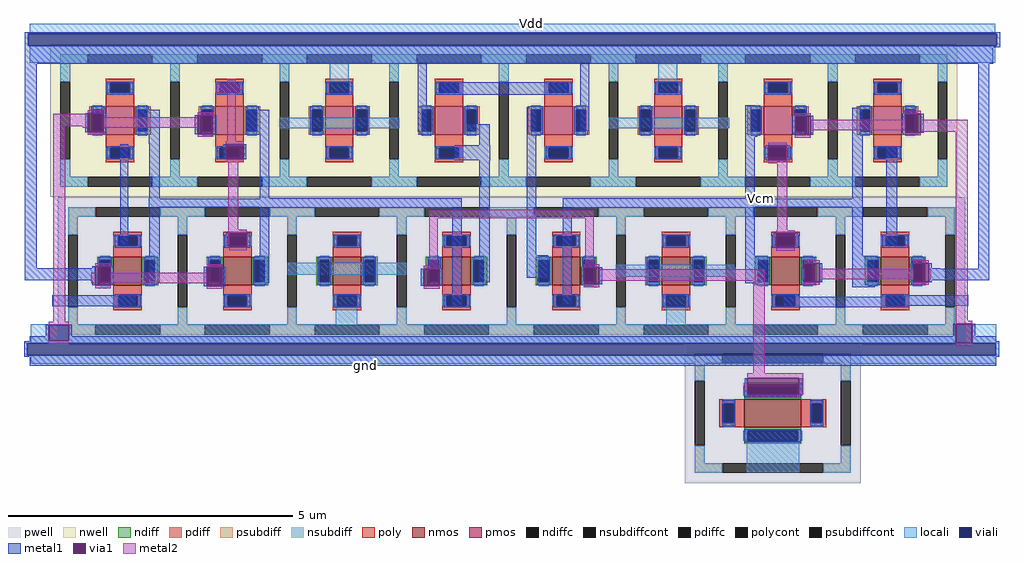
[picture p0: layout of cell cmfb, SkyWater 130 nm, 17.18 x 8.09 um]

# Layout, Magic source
magic
tech sky130A
magscale 1 2
<< pwell >>
rect 644 1146 681 1291
rect 1630 1192 1660 1286
<< locali >>
rect 223 2021 3623 2056
rect 223 1919 3623 1979
rect 1279 1810 1347 1919
rect 2435 1812 2503 1919
rect 1101 1688 1524 1725
rect 2262 1689 2685 1726
rect 1132 1172 1549 1215
rect 2287 1199 2706 1208
rect 2287 1166 2707 1199
rect 1301 998 1376 1096
rect 2464 998 2532 1100
rect 226 932 3625 998
rect 3624 890 3625 932
rect 226 860 3625 890
rect 2748 478 2932 628
<< viali >>
rect 218 1979 3627 2021
rect 215 890 3624 932
<< metal1 >>
rect 206 2021 3639 2027
rect 206 1979 218 2021
rect 3627 1979 3639 2021
rect 206 1973 3639 1979
rect 206 1916 3616 1973
rect 206 1195 248 1916
rect 418 1675 428 1742
rect 483 1675 493 1742
rect 604 1716 681 1753
rect 604 1708 641 1716
rect 642 1708 681 1716
rect 604 1671 681 1708
rect 642 1636 681 1671
rect 804 1668 814 1735
rect 869 1668 879 1735
rect 988 1666 1066 1753
rect 1589 1676 1621 1916
rect 1670 1807 2115 1850
rect 541 1279 570 1632
rect 644 1441 681 1636
rect 904 1580 914 1632
rect 976 1580 986 1632
rect 1033 1442 1066 1666
rect 1759 1665 1842 1702
rect 1805 1629 1842 1665
rect 1719 1576 1844 1629
rect 1033 1441 1744 1442
rect 642 1411 1744 1441
rect 444 1195 454 1203
rect 206 1153 454 1195
rect 444 1136 454 1153
rect 509 1136 519 1203
rect 644 1146 681 1411
rect 1033 1409 1744 1411
rect 915 1269 925 1321
rect 987 1269 997 1321
rect 836 1133 846 1200
rect 901 1133 911 1200
rect 1033 1145 1066 1409
rect 1600 1134 1610 1194
rect 1666 1134 1676 1194
rect 302 1061 597 1100
rect 1711 1064 1744 1409
rect 1805 1146 1842 1576
rect 1973 1241 2007 1762
rect 2161 1679 2193 1916
rect 2743 1759 2776 1770
rect 2743 1659 2784 1759
rect 2907 1665 2917 1732
rect 2972 1665 2982 1732
rect 2743 1442 2776 1659
rect 2814 1576 2824 1628
rect 2889 1576 2899 1628
rect 2099 1440 2776 1442
rect 3118 1440 3155 1761
rect 3295 1673 3305 1740
rect 3360 1673 3370 1740
rect 2099 1410 3155 1440
rect 2099 1409 2776 1410
rect 1973 1162 2046 1241
rect 2099 1068 2132 1409
rect 2743 1240 2776 1409
rect 2842 1268 2852 1320
rect 2917 1268 2927 1320
rect 2164 1139 2174 1199
rect 2229 1139 2239 1199
rect 2743 1143 2818 1240
rect 3118 1239 3155 1410
rect 3238 1273 3278 1621
rect 2939 1147 2949 1214
rect 3004 1147 3014 1214
rect 3118 1128 3198 1239
rect 3324 1147 3334 1214
rect 3389 1195 3399 1214
rect 3389 1193 3429 1195
rect 3562 1193 3602 1916
rect 3389 1154 3602 1193
rect 3389 1153 3528 1154
rect 3389 1147 3399 1153
rect 3240 1096 3528 1101
rect 2878 1064 3528 1096
rect 2878 1058 3311 1064
rect 280 956 290 997
rect 223 940 290 956
rect 361 956 371 997
rect 3474 956 3484 1001
rect 361 940 3484 956
rect 223 938 3484 940
rect 203 932 3484 938
rect 3541 956 3551 1001
rect 3541 938 3626 956
rect 3541 932 3636 938
rect 203 890 215 932
rect 3624 890 3636 932
rect 203 884 3636 890
rect 223 853 3626 884
rect 2740 750 2750 808
rect 2932 750 2942 808
<< via1 >>
rect 428 1675 483 1742
rect 814 1668 869 1735
rect 914 1580 976 1632
rect 454 1136 509 1203
rect 925 1269 987 1321
rect 846 1133 901 1200
rect 1610 1134 1666 1194
rect 2917 1665 2972 1732
rect 2824 1576 2889 1628
rect 3305 1673 3360 1740
rect 2852 1268 2917 1320
rect 2174 1139 2229 1199
rect 2949 1147 3004 1214
rect 3334 1147 3389 1214
rect 290 940 361 997
rect 3484 932 3541 1001
rect 2750 750 2932 808
<< metal2 >>
rect 919 1845 949 1860
rect 880 1814 965 1845
rect 428 1742 483 1752
rect 385 1739 428 1740
rect 306 1696 428 1739
rect 306 1007 349 1696
rect 385 1695 428 1696
rect 409 1691 428 1695
rect 814 1735 869 1745
rect 483 1691 814 1727
rect 428 1665 483 1675
rect 814 1658 869 1668
rect 919 1642 949 1814
rect 2917 1732 2972 1742
rect 3305 1740 3360 1750
rect 2972 1682 3305 1718
rect 2917 1655 2972 1665
rect 3360 1676 3526 1718
rect 3305 1663 3360 1673
rect 914 1632 976 1642
rect 914 1570 976 1580
rect 2824 1630 2889 1638
rect 2824 1628 2890 1630
rect 2889 1576 2890 1628
rect 922 1331 957 1570
rect 2824 1566 2890 1576
rect 1630 1371 2209 1401
rect 922 1321 987 1331
rect 922 1278 925 1321
rect 925 1259 987 1269
rect 454 1203 509 1213
rect 439 1143 454 1179
rect 846 1200 901 1210
rect 1630 1204 1660 1371
rect 2179 1209 2209 1371
rect 2854 1330 2890 1566
rect 2852 1320 2917 1330
rect 2852 1258 2917 1268
rect 2949 1214 3004 1224
rect 509 1143 846 1179
rect 454 1126 509 1136
rect 846 1123 901 1133
rect 1610 1194 1666 1204
rect 1610 1124 1666 1134
rect 2174 1199 2229 1209
rect 2229 1152 2810 1192
rect 2944 1157 2949 1193
rect 2174 1129 2229 1139
rect 290 997 361 1007
rect 290 930 361 940
rect 2770 826 2810 1152
rect 3334 1214 3389 1224
rect 3004 1157 3334 1193
rect 2949 1137 3004 1147
rect 3389 1157 3395 1193
rect 3334 1137 3389 1147
rect 3484 1011 3526 1676
rect 3484 1001 3541 1011
rect 3484 922 3541 932
rect 2750 808 2946 826
rect 2736 764 2750 793
rect 2932 750 2946 808
rect 2750 740 2932 750
use sky130_fd_pr__nfet_01v8_SMGLWN  XM1
transform 1 0 1340 0 1 1186
box -246 -260 246 260
use sky130_fd_pr__nfet_01v8_SMGLWN  XM2
transform 1 0 2498 0 1 1186
box -246 -260 246 260
use sky130_fd_pr__pfet_01v8_TM5SY6  XM3
transform 1 0 1313 0 1 1716
box -246 -269 246 269
use sky130_fd_pr__pfet_01v8_TM5SY6  XM4
transform 1 0 541 0 1 1716
box -246 -269 246 269
use sky130_fd_pr__pfet_01v8_TM5SY6  XM5
transform 1 0 1699 0 1 1716
box -246 -269 246 269
use sky130_fd_pr__pfet_01v8_TM5SY6  XM6
transform 1 0 2085 0 1 1716
box -246 -269 246 269
use sky130_fd_pr__nfet_01v8_SMGLWN  XM7
transform 1 0 1726 0 1 1186
box -246 -260 246 260
use sky130_fd_pr__nfet_01v8_SMGLWN  XM8
transform 1 0 2112 0 1 1186
box -246 -260 246 260
use sky130_fd_pr__nfet_01v8_PVEW3M  XM9
transform 0 1 2839 -1 0 685
box -246 -310 246 310
use sky130_fd_pr__nfet_01v8_SMGLWN  XM10
transform 1 0 568 0 1 1186
box -246 -260 246 260
use sky130_fd_pr__nfet_01v8_SMGLWN  XM11
transform 1 0 954 0 1 1186
box -246 -260 246 260
use sky130_fd_pr__pfet_01v8_TM5SY6  XM12
transform 1 0 927 0 1 1716
box -246 -269 246 269
use sky130_fd_pr__nfet_01v8_SMGLWN  XM13
transform 1 0 2884 0 1 1186
box -246 -260 246 260
use sky130_fd_pr__nfet_01v8_SMGLWN  XM14
transform 1 0 3270 0 1 1186
box -246 -260 246 260
use sky130_fd_pr__pfet_01v8_TM5SY6  XM15
transform 1 0 2857 0 1 1716
box -246 -269 246 269
use sky130_fd_pr__pfet_01v8_TM5SY6  XM16
transform 1 0 3243 0 1 1716
box -246 -269 246 269
use sky130_fd_pr__pfet_01v8_TM5SY6  XM18
transform 1 0 2471 0 1 1716
box -246 -269 246 269
<< labels >>
rlabel locali 1990 2056 1990 2056 1 Vdd
rlabel metal1 2801 1440 2801 1440 1 Vcm
rlabel metal1 1405 853 1405 853 5 gnd
<< end >>

# cell sky130_fd_pr__nfet_01v8_SMGLWN: kit device sky130_fd_pr__nfet_01v8, w 0.5 l 0.5 m 1 nf 1 diffcov 100 polycov 100 guard 1 glc 1 grc 1 gtc 1 gbc 1 tbcov 100 rlcov 100 topc 1 botc 1 poverlap 0 doverlap 1 lmin 0.15 wmin 0.42 compatible {sky130_fd_pr__nfet_01v8 sky130_fd_pr__nfet_01v8_lvt sky130_fd_bs_flash__special_sonosfet_star sky130_fd_pr__nfet_g5v0d10v5 sky130_fd_pr__nfet_05v0_nvt sky130_fd_pr__nfet_03v3_nvt} full_metal 1 viasrc 100 viadrn 100 viagate 100 viagb 0 viagr 0 viagl 0 viagt 0

# cell sky130_fd_pr__pfet_01v8_TM5SY6: kit device sky130_fd_pr__pfet_01v8, w 0.5 l 0.5 m 1 nf 1 diffcov 100 polycov 100 guard 1 glc 1 grc 1 gtc 1 gbc 1 tbcov 100 rlcov 100 topc 1 botc 1 poverlap 0 doverlap 1 lmin 0.15 wmin 0.42 compatible {sky130_fd_pr__pfet_01v8 sky130_fd_pr__pfet_01v8_lvt sky130_fd_pr__pfet_01v8_hvt sky130_fd_pr__pfet_g5v0d10v5} full_metal 1 viasrc 100 viadrn 100 viagate 100 viagb 0 viagr 0 viagl 0 viagt 0

# cell sky130_fd_pr__nfet_01v8_PVEW3M: kit device sky130_fd_pr__nfet_01v8, w 1.0 l 0.5 m 1 nf 1 diffcov 100 polycov 100 guard 1 glc 1 grc 1 gtc 1 gbc 1 tbcov 100 rlcov 100 topc 1 botc 1 poverlap 0 doverlap 1 lmin 0.15 wmin 0.42 compatible {sky130_fd_pr__nfet_01v8 sky130_fd_pr__nfet_01v8_lvt sky130_fd_bs_flash__special_sonosfet_star sky130_fd_pr__nfet_g5v0d10v5 sky130_fd_pr__nfet_05v0_nvt sky130_fd_pr__nfet_03v3_nvt} full_metal 1 viasrc 100 viadrn 100 viagate 100 viagb 0 viagr 0 viagl 0 viagt 0
